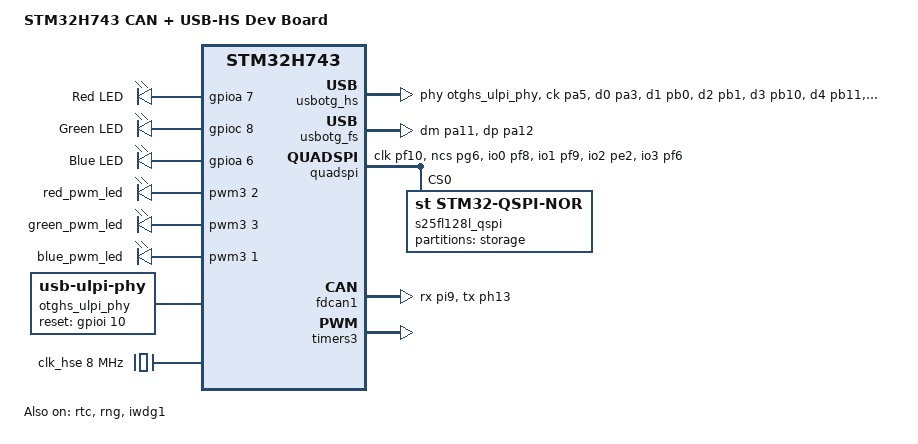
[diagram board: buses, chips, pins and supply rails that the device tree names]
/*
 * Copyright (c) 2026 Kevin Ahr <kevin@kevinbot.net>
 *
 * SPDX-License-Identifier: Apache-2.0
 */

/dts-v1/;
#include <st/h7/stm32h743Xi.dtsi>
#include <st/h7/stm32h743iitx-pinctrl.dtsi>
#include <zephyr/dt-bindings/led/led.h>

/ {
	model = "STM32H743 CAN + USB-HS Dev Board";
	compatible = "kevinbot,stm32h743_can_hs";

	chosen {
		zephyr,sram = &sram0;
		zephyr,flash = &flash0;
		zephyr,udc = &usbotg_fs;
		zephyr,canbus = &fdcan1;
	};

	leds {
		compatible = "gpio-leds";

		led0_red: led_1 {
			gpios = <&gpioa 7 GPIO_ACTIVE_HIGH>;
			label = "Red LED";
		};

		led0_green: led_2 {
			gpios = <&gpioc 8 GPIO_ACTIVE_HIGH>;
			label = "Green LED";
		};

		led0_blue: led_3 {
			gpios = <&gpioa 6 GPIO_ACTIVE_HIGH>;
			label = "Blue LED";
		};
	};

	pwmleds {
		compatible = "pwm-leds";

		red_pwm_led: led_0 {
			status = "okay";
			pwms = <&pwm3 2 PWM_MSEC(10) PWM_POLARITY_NORMAL>;
		};

		green_pwm_led: led_1 {
			status = "okay";
			pwms = <&pwm3 3 PWM_MSEC(10) PWM_POLARITY_NORMAL>;
		};

		blue_pwm_led: led_2 {
			status = "okay";
			pwms = <&pwm3 1 PWM_MSEC(10) PWM_POLARITY_NORMAL>;
		};
	};

	soc {
		usbotg_hs: usb@40040000 {
			compatible = "st,stm32-otghs";
			reg = <0x40040000 0x40000>;
			interrupts = <74 0>, <75 0>, <76 0>, <77 0>;
			interrupt-names = "ep1_out", "ep1_in", "wkup", "otghs";
			num-bidir-endpoints = <9>;
			ram-size = <4096>;
			clocks = <&rcc STM32_CLOCK(AHB1, 25)>,
				 <&rcc STM32_SRC_HSI48 USB_SEL(3)>;
			phys = <&otghs_ulpi_phy>;
			pinctrl-0 = <&usb_otg_hs_ulpi_ck_pa5
				     &usb_otg_hs_ulpi_d0_pa3
				     &usb_otg_hs_ulpi_d1_pb0
				     &usb_otg_hs_ulpi_d2_pb1
				     &usb_otg_hs_ulpi_d3_pb10
				     &usb_otg_hs_ulpi_d4_pb11
				     &usb_otg_hs_ulpi_d5_pb12
				     &usb_otg_hs_ulpi_d6_pb13
				     &usb_otg_hs_ulpi_d7_pb5
				     &usb_otg_hs_ulpi_stp_pc0
				     &usb_otg_hs_ulpi_dir_pi11
				     &usb_otg_hs_ulpi_nxt_pc3_c>;
			pinctrl-names = "default";
			maximum-speed = "high-speed";
		};

		otghs_ulpi_phy: otghs_ulpis_phy {
			compatible = "usb-ulpi-phy";
			#phy-cells = <0>;
			reset-gpios = <&gpioi 10 GPIO_ACTIVE_HIGH>;
		};
	};

	aliases {
		red-pwm-led = &red_pwm_led;
		green-pwm-led = &green_pwm_led;
		blue-pwm-led = &blue_pwm_led;
		led0 = &led0_red;
		led1 = &led0_green;
		led2 = &led0_blue;
		watchdog0 = &iwdg;
		rtc = &rtc;
	};
};

zephyr_udc0: &usbotg_fs {
	pinctrl-0 = <&usb_otg_fs_dm_pa11 &usb_otg_fs_dp_pa12>;
	pinctrl-names = "default";
	status = "okay";
};

#include <../boards/common/usb/cdc_acm_serial.dtsi>

&quadspi {
	pinctrl-names = "default";
	pinctrl-0 = <&quadspi_clk_pf10 &quadspi_bk1_ncs_pg6
		     &quadspi_bk1_io0_pf8 &quadspi_bk1_io1_pf9
		     &quadspi_bk1_io2_pe2 &quadspi_bk1_io3_pf6>;
	flash-id = <1>;
	status = "okay";

	s25fl128l_qspi: qspi-nor-flash@0 {
		compatible = "st,stm32-qspi-nor";
		reg = <0>;
		size = <DT_SIZE_M(128)>;
		qspi-max-frequency = <133000000>;
		cs-high-time = <7>; // ~52.6ns
		status = "okay";
		spi-bus-width = <4>;
		writeoc = "PP_1_1_4";
		reset-cmd;
		reset-cmd-wait = <100>;

		partitions {
			compatible = "fixed-partitions";
			#address-cells = <1>;
			#size-cells = <1>;

			storage_partition: partition@0 {
				label = "storage";
				reg = <0x00000000 DT_SIZE_M(16)>;
			};
		};
	};
};

&fdcan1 {
	status = "okay";

	clocks = <&rcc STM32_CLOCK(APB1_2, 8)>,
		 <&rcc STM32_SRC_PLL2_Q FDCAN_SEL(2)>;

	pinctrl-0 = <&fdcan1_rx_pi9 &fdcan1_tx_ph13>;
	pinctrl-names = "default";

	can-transceiver {
		max-bitrate = <8000000>;
	};
};

&timers3 {
	status = "okay";
	st,prescaler = <1000>;

	pwm3: pwm {
		status = "okay";
		pinctrl-0 = <&tim3_ch1_pa6 &tim3_ch2_pa7 &tim3_ch3_pc8>;
		pinctrl-names = "default";
	};
};

&clk_lsi {
	status = "okay";
};

&clk_lse {
	driving-capability = <2>;
	status = "okay";
};

&clk_hsi48 {
	status = "okay";
};

&clk_hse {
	hse-bypass;
	clock-frequency = <DT_FREQ_M(8)>; /* STLink 8MHz clock */
	status = "okay";
};

&pll {
	div-m = <2>;
	mul-n = <240>;
	div-p = <2>;   /* 480MHz -> SYSCLK/CPU */
	div-q = <20>;  /* 960MHz / 20 = 48MHz -> USB kernel clock */
	div-r = <2>;
	clocks = <&clk_hse>;
	status = "okay";
};

&pll2 {
	div-m = <4>;
	mul-n = <120>;
	div-p = <2>;
	div-q = <3>; /* gives 80MHz to the FDCAN */
	div-r = <2>;
	clocks = <&clk_hse>;
	status = "okay";
};

&rcc {
	clocks = <&pll>;
	clock-frequency = <DT_FREQ_M(480)>;
	d1cpre = <1>;
	hpre = <2>;
	d1ppre = <2>;
	d2ppre1 = <2>;
	d2ppre2 = <2>;
	d3ppre = <2>;
};

&rtc {
	clocks = <&rcc STM32_CLOCK(APB4, 16)>,
		 <&rcc STM32_SRC_LSE RTC_SEL(1)>;
	status = "okay";
};

&pwr {
	power-supply = "ldo";
};

&rng {
	status = "okay";
};

&backup_sram {
	status = "okay";
};

&iwdg1 {
	status = "okay";
};
